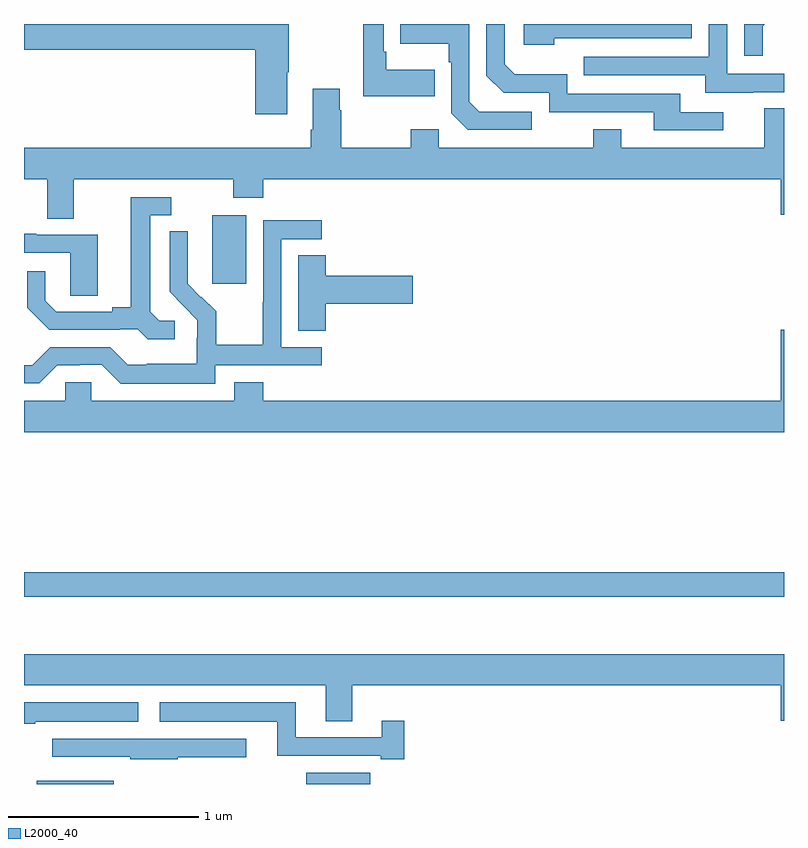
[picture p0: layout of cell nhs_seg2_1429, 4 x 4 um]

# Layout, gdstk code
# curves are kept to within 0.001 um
import gdstk
lib = gdstk.Library(unit=1e-6, precision=1e-09)
def R(c, l, rs):  # rectangles x0, y0, x1, y1
    for r in rs: c.add(gdstk.rectangle(r[:2], r[2:], *l))
def P(c, l, *ps):  # polygons
    for p in ps: c.add(gdstk.Polygon(p, *l))
L2000_40 = (2000, 40)

nhs_seg2_1429 = lib.new_cell('nhs_seg2_1429')
R(nhs_seg2_1429, L2000_40, [(185.066,629.8,185.473,629.818), (186.485,629.8,186.823,629.86), (185,630.786,189,630.914), (185.99,632.433,186.169,632.794)])
P(nhs_seg2_1429, L2000_40, [(187.163,633.559),(186.907,633.559),(186.907,633.655),(186.894,633.655),(186.894,633.8),(186.786,633.8),(186.786,633.419),(187.163,633.419)],
  [(188.887,633.789),(188.898,633.8),(188.79,633.8),(188.79,633.633),(188.887,633.633)],
  [(188.839,633.441),(189,633.441),(189,633.537),(188.7,633.537),(188.7,633.8),(188.604,633.8),(188.604,633.627),(187.945,633.627),(187.945,633.531),(188.585,633.531),(188.585,633.437),(188.839,633.437)],
  [(187.79,633.726),(188.514,633.726),(188.514,633.8),(187.629,633.8),(187.629,633.692),(187.79,633.692)],
  [(188.68,633.336),(188.455,633.336),(188.455,633.432),(187.86,633.432),(187.86,633.535),(187.583,633.535),(187.53,633.588),(187.53,633.8),(187.434,633.8),(187.434,633.528),(187.524,633.438),(187.764,633.438),(187.764,633.336),(188.315,633.336),(188.315,633.24),(188.68,633.24)],
  [(186.385,633.547),(186.393,633.547),(186.393,633.8),(185,633.8),(185,633.664),(186.218,633.664),(186.218,633.324),(186.385,633.324)],
  [(187.672,633.339),(187.395,633.339),(187.344,633.39),(187.344,633.8),(186.979,633.8),(186.979,633.695),(187.236,633.695),(187.236,633.599),(187.248,633.599),(187.248,633.33),(187.335,633.243),(187.672,633.243)],
  [(185.263,632.984),(186.1,632.984),(186.1,632.885),(186.26,632.885),(186.26,632.984),(188.984,632.984),(188.984,632.796),(189,632.796),(189,633.356),(188.897,633.356),(188.897,633.148),(188.143,633.148),(188.143,633.247),(187.996,633.247),(187.996,633.148),(187.182,633.148),(187.182,633.247),(187.036,633.247),(187.036,633.148),(186.669,633.148),(186.669,633.347),(186.661,633.347),(186.661,633.46),(186.521,633.46),(186.521,633.244),(186.509,633.244),(186.509,633.148),(185,633.148),(185,632.984),(185.123,632.984),(185.123,632.776),(185.263,632.776)],
  [(185.794,632.238),(185.712,632.238),(185.665,632.285),(185.665,632.793),(185.776,632.793),(185.776,632.889),(185.561,632.889),(185.561,632.309),(185.465,632.309),(185.465,632.286),(185.17,632.286),(185.113,632.343),(185.113,632.5),(185.016,632.5),(185.016,632.306),(185.132,632.19),(185.504,632.19),(185.504,632.193),(185.598,632.193),(185.65,632.141),(185.794,632.141)],
  [(186.006,632.004),(186.568,632.004),(186.568,632.1),(186.354,632.1),(186.354,632.667),(186.568,632.667),(186.568,632.766),(186.258,632.766),(186.258,632.336),(186.256,632.336),(186.256,632.113),(186.011,632.113),(186.011,632.287),(185.934,632.364),(185.931,632.361),(185.861,632.432),(185.862,632.708),(185.766,632.708),(185.766,632.39),(185.912,632.242),(185.912,632.145),(185.91,632.145),(185.91,632.011),(185.647,632.011),(185.647,632.007),(185.547,632.007),(185.454,632.1),(185.139,632.1),(185.043,632.004),(185,632.004),(185,631.908),(185.079,631.908),(185.175,632.004),(185.294,632.004),(185.294,632.007),(185.409,632.007),(185.509,631.907),(186.006,631.907)],
  [(185.389,632.691),(185.065,632.691),(185.065,632.695),(185,632.695),(185,632.595),(185.244,632.595),(185.244,632.371),(185.389,632.371)],
  [(186.587,632.327),(187.045,632.327),(187.045,632.474),(186.587,632.474),(186.587,632.582),(186.443,632.582),(186.443,632.185),(186.587,632.185)],
  [(189,632.191),(188.984,632.191),(188.984,631.816),(186.26,631.816),(186.26,631.915),(186.107,631.915),(186.107,631.816),(185.355,631.816),(185.355,631.914),(185.217,631.914),(185.217,631.816),(185,631.816),(185,631.652),(189,631.652)],
  [(186.727,630.32),(188.984,630.32),(188.984,630.132),(189,630.132),(189,630.484),(185,630.484),(185,630.32),(186.587,630.32),(186.587,630.13),(186.727,630.13)],
  [(187.001,630.133),(186.884,630.133),(186.884,630.045),(186.43,630.045),(186.43,630.229),(185.715,630.229),(185.715,630.128),(186.332,630.128),(186.332,629.949),(186.878,629.949),(186.878,629.929),(187.001,629.929)],
  [(185.06,630.128),(185.602,630.128),(185.602,630.229),(185,630.229),(185,630.118),(185.06,630.118)],
  [(185.81,629.942),(186.169,629.942),(186.169,630.039),(185.148,630.039),(185.148,629.943),(185.56,629.943),(185.56,629.931),(185.81,629.931)])

lib.write_gds('nhs_seg2_1429.gds')
